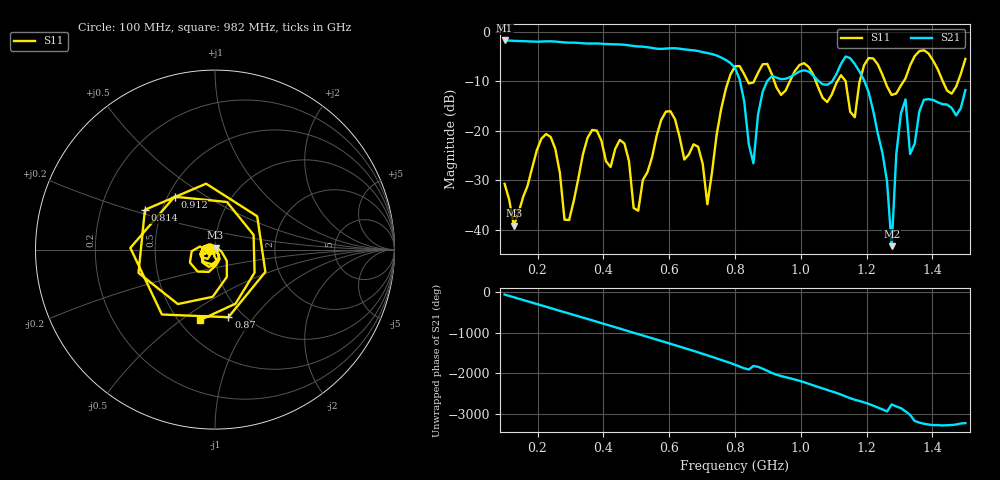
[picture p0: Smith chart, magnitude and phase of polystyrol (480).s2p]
! NanoVNA-App
! Date: 2025-09-25 15:33:37
! Start: 100MHz Stop: 1,5GHz Points: 101
! S-Parameter data: F S11 S21 S12 S22
# Hz S RI R 50
!  Frequency  S11_Real  S11_Imag  S21_Real  S21_Imag  S12_Real  S12_Imag  S22_Real  S22_Imag
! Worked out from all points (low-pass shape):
!   101 points, 100 MHz to 1.5 GHz, reference 50 ohm
!   highest |S21| = -1.80 dB at 100 MHz (marker M1); lowest = -43.3 dB at 1.276 GHz (marker M2)
!   |S21| within 3 dB of the highest: start of sweep to 743 MHz
!   lowest |S11| = -39.1 dB at 128 MHz (marker M3), VSWR 1.02, Z = 50.3 + j1.06 ohm
!   |S11| at or under -10 dB: start of sweep to 779.7 MHz; 1.045 GHz to 1.111 GHz (65.92 MHz wide, 6.11 % of centre); 1.256 GHz to 1.313 GHz (57.08 MHz wide, 4.45 % of centre) (the widest 3 of 7)
!   S12 and S22 are empty: the file has one direction only
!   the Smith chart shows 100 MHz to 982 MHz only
!   S11 on the Smith chart (normalised r, x): 100 MHz: 0.94, -0.01; 814 MHz: 0.40, +0.22; 870 MHz: 0.85, -0.75; 912 MHz: 0.54, +0.37; 982 MHz: 0.63, -0.59
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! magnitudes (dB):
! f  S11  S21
! 100 MHz  -30.7  -1.8
! 128 MHz  -39.1  -1.9
! 212 MHz  -21.6  -2.0
! 282 MHz  -37.9  -2.2
! 338 MHz  -24.7  -2.4
! 464 MHz  -22.6  -2.7
! 506 MHz  -36.1  -3.0
! 576 MHz  -17.8  -3.5
! 716 MHz  -34.8  -4.3
! 800 MHz  -7.0  -7.4
! 814 MHz  -7.0  -9.6
! 856 MHz  -10.3  -26.6
! 870 MHz  -8.3  -16.7
! 912 MHz  -8.6  -9.0
! 982 MHz  -7.9  -8.6
! 1.038 GHz  -8.7  -8.9
! 1.164 GHz  -17.3  -6.6
! 1.192 GHz  -6.8  -9.8
! 1.276 GHz  -12.8  -43.3
! 1.318 GHz  -9.5  -13.7
! 1.332 GHz  -6.8  -24.7
! 1.5 GHz  -5.5  -11.8
